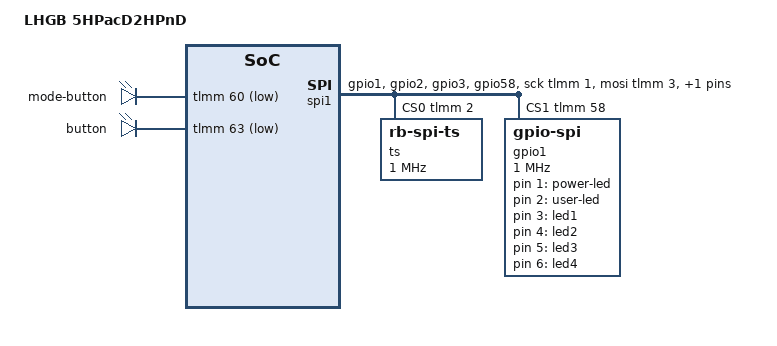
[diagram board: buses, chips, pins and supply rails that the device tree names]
/dts-v1/;
#include "ipq40xx.dtsi"

/ {
	model = "LHGB 5HPacD2HPnD";

	spi1: spi1 {
		compatible = "spi-gpio";
		#address-cells = <0x1>;
		#size-cells = <0>;

		pinctrl-0 = <&gpio_spi_pins>;
		pinctrl-names = "default";

		gpio-sck = <&tlmm 1 GPIO_ACTIVE_HIGH>;
		gpio-miso = <&tlmm 0 GPIO_ACTIVE_HIGH>;
		gpio-mosi = <&tlmm 3 GPIO_ACTIVE_HIGH>;
		cs-gpios = <&tlmm 2 GPIO_ACTIVE_HIGH
				&tlmm 58 GPIO_ACTIVE_HIGH>;
		num-chipselects = <2>;


		ts@0 {
			compatible = "rb-spi-ts";
			spi-max-frequency = <1000000>;
			reg = <0>;			/* Chip select */
		};

		gpio1: gpio-spi@1 {
			compatible = "gpio-spi";
			gpio-controller;
			#gpio-cells = <2>;
			nr-gpo = <8>;
			nr-gpi = <8>;
			spi-max-frequency = <1000000>;
			reg = <1>;
		};
	};

	leds {
		compatible = "leds-rb";
		power-led {
			gpios = <&gpio1 1 GPIO_ACTIVE_HIGH>;
			default-state = "keep";
		};
		user-led {
			gpios = <&gpio1 2 GPIO_ACTIVE_HIGH>;
		};
		led1 {
			gpios = <&gpio1 3 GPIO_ACTIVE_HIGH>;
		};
		led2 {
			gpios = <&gpio1 4 GPIO_ACTIVE_HIGH>;
		};
		led3 {
			gpios = <&gpio1 5 GPIO_ACTIVE_HIGH>;
		};
		led4 {
			gpios = <&gpio1 6 GPIO_ACTIVE_HIGH>;
		};
		mode-button {
			gpios = <&tlmm 60 GPIO_ACTIVE_LOW>;
			default-state = "input";
		};
		button {
			gpios = <&tlmm 63 GPIO_ACTIVE_LOW>;
			default-state = "input";
		};
	};
};

&tlmm {
	gpio_spi_pins: gpio_spi_cs_pins_pinmux {
		mux {
			pins = "gpio1","gpio2","gpio3", "gpio58";
			function = "gpio";
			bias-disable;
			output-high;
		};
	};
};

&edma {
	port_map = <3 0x20004(-1)>;
};
